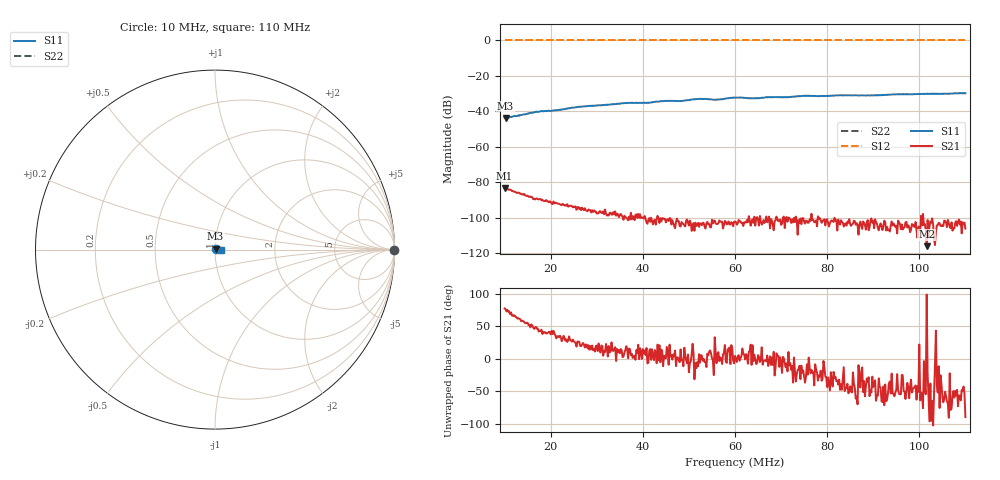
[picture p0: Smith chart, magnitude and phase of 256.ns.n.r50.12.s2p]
! Anritsu VNA Master:  Model: MS2036C/10/77
! SN:  1601066
! /card0/usr/256.ns.n.r50.12.s2p
! Existing Calibration Information:
! TYPE:  Current Settings,  Active Cal Settings
! TIME:  12/19/2017 04:06:34 PM,  12/19/2017 03:58:02 PM
! INTERNAL TEMP:  46.8 C,  47.0 C
! # POINTS:  501,  501
! START FREQ:  10.000 MHz,  10.000 MHz
! STOP FREQ:  110.000 MHz,  110.000 MHz
! SOURCE POWER:  High,  High
! IFBW:  100 Hz,  100 Hz
! AVG FACTOR:  1 ,  1
! REF PLANE 1:  0 mm,  0 mm
! REF PLANE 2:  0 mm,  0 mm
! CAL TYPE:  Full S11,  Full S11
! CAL METHOD:  SOLT,  SOLT
! CAL LINE TYPE:  Coax,  Coax
! DUT PORT 1:  N-Conn(F),  N-Conn(F)
! DUT PORT 2:  K-Conn(F),  K-Conn(F)
! CAL STATUS:  OK: Accuracy High,  --
# GHZ S DB R 50.0
! FREQ.GHZ  S11DB  S11A  S21DB  S21A  S12DB  S12A  S22DB  S22A
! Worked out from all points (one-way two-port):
!   501 points, 10 MHz to 110 MHz, reference 50 ohm
!   highest |S21| = -83.16 dB at 10 MHz (marker M1); lowest = -115.9 dB at 101.6 MHz (marker M2)
!   lowest |S11| = -43.6 dB at 10.2 MHz (marker M3), VSWR 1.01, Z = 50.3 + j0.58 ohm
!   |S11| at or under -10 dB: start of sweep to end of sweep
!   |S22| runs from 0.0 to 0.0 dB; largest |S21 - S12| = 1
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0.01  -43.45 59.3  -83.16 77.5  0.00 0.0  0.00 0.0
0.0102  -43.62 60.9  -83.51 76.2  0.00 0.0  0.00 0.0
0.017  -40.23 57.2  -89.05 46.4  0.00 0.0  0.00 0.0
0.0214  -39.29 53.9  -91.69 34.7  0.00 0.0  0.00 0.0
0.0268  -37.25 52.0  -94.25 21.6  0.00 0.0  0.00 0.0
0.0362  -35.33 48.7  -99.56 13.5  0.00 0.0  0.00 0.0
0.0412  -35.11 44.7  -101.04 -5.6  0.00 0.0  0.00 0.0
0.0434  -34.45 42.6  -100.34 -2.0  0.00 0.0  0.00 0.0
0.0452  -34.06 42.6  -101.01 18.3  0.00 0.0  0.00 0.0
0.0482  -34.11 40.2  -104.88 14.5  0.00 0.0  0.00 0.0
0.0522  -32.93 38.2  -105.08 7.2  0.00 0.0  0.00 0.0
0.0562  -33.27 35.8  -103.51 7.3  0.00 0.0  0.00 0.0
0.06  -32.22 33.6  -102.05 4.6  0.00 0.0  0.00 0.0
0.0642  -32.62 31.7  -99.34 6.5  0.00 0.0  0.00 0.0
0.067  -32.03 28.0  -102.51 5.1  0.00 0.0  0.00 0.0
0.0714  -32.01 25.0  -102.16 -19.3  0.00 0.0  0.00 0.0
0.075  -31.17 23.0  -102.18 -27.7  0.00 0.0  0.00 0.0
0.0768  -31.31 23.1  -101.10 -21.2  0.00 0.0  0.00 0.0
0.0902  -30.93 11.9  -105.82 -40.0  0.00 0.0  0.00 0.0
0.0934  -30.50 8.0  -106.69 -38.2  0.00 0.0  0.00 0.0
0.1016  -29.99 3.6  -115.94 98.8  0.00 0.0  0.00 0.0
0.11  -29.75 -0.6  -106.07 -89.6  0.00 0.0  0.00 0.0
